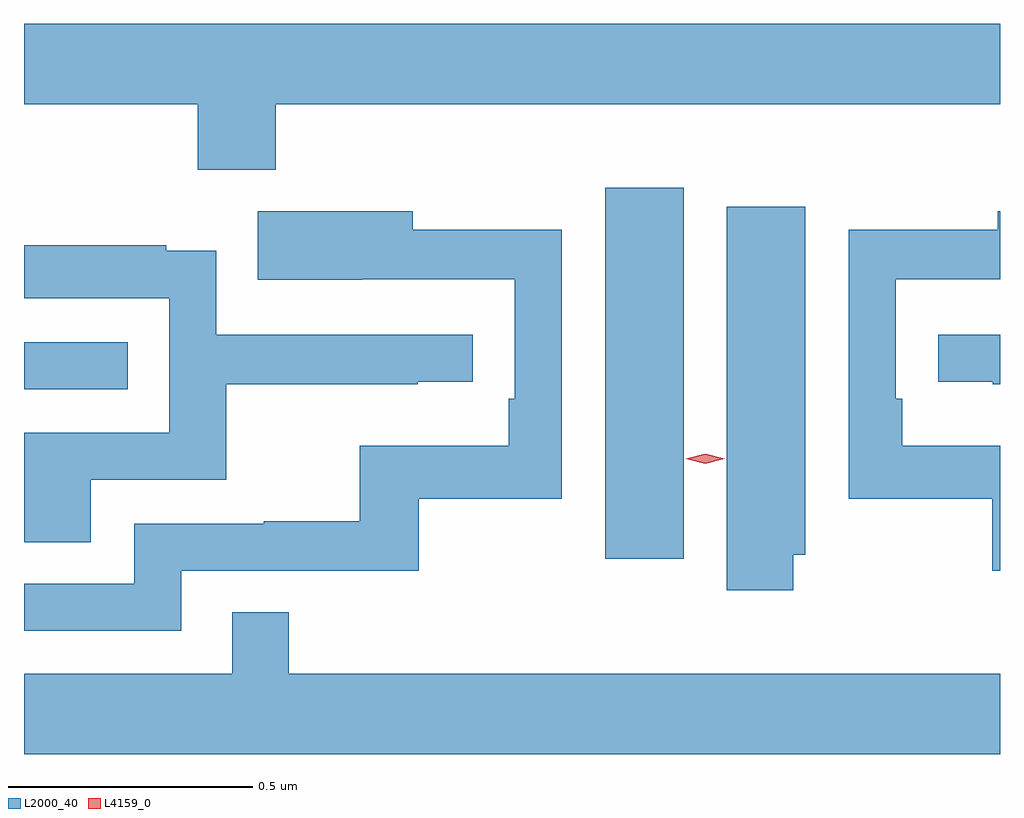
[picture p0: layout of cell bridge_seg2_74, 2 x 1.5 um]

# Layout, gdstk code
import gdstk
lib = gdstk.Library(unit=1e-6, precision=1e-09)
def R(c, l, rs):  # rectangles x0, y0, x1, y1
    for r in rs: c.add(gdstk.rectangle(r[:2], r[2:], *l))
def P(c, l, *ps):  # polygons
    for p in ps: c.add(gdstk.Polygon(p, *l))
L2000_40 = (2000, 40)
L4159_0 = (4159, 0)

bridge_seg2_74 = lib.new_cell('bridge_seg2_74')
R(bridge_seg2_74, L2000_40, [(1135.025,624.06,1135.186,624.82), (1133.834,624.408,1134.047,624.504)])
P(bridge_seg2_74, L2000_40, [(1134.35,624.992),(1135.834,624.992),(1135.834,625.156),(1133.834,625.156),(1133.834,624.992),(1134.19,624.992),(1134.19,624.857),(1134.35,624.857)],
  [(1135.41,624.068),(1135.435,624.068),(1135.435,624.781),(1135.274,624.781),(1135.274,623.996),(1135.41,623.996)],
  [(1134.156,624.036),(1134.643,624.036),(1134.643,624.183),(1134.936,624.183),(1134.936,624.734),(1134.631,624.734),(1134.631,624.772),(1134.313,624.772),(1134.313,624.632),(1134.527,624.632),(1134.527,624.633),(1134.84,624.633),(1134.84,624.388),(1134.827,624.388),(1134.827,624.292),(1134.522,624.292),(1134.522,624.137),(1134.325,624.137),(1134.325,624.132),(1134.06,624.132),(1134.06,624.009),(1133.834,624.009),(1133.834,623.913),(1134.156,623.913)],
  [(1135.834,624.292),(1135.634,624.292),(1135.634,624.388),(1135.62,624.388),(1135.62,624.633),(1135.834,624.633),(1135.834,624.772),(1135.829,624.772),(1135.829,624.734),(1135.524,624.734),(1135.524,624.183),(1135.818,624.183),(1135.818,624.036),(1135.834,624.036)],
  [(1133.971,624.222),(1134.248,624.222),(1134.248,624.418),(1134.641,624.418),(1134.641,624.423),(1134.754,624.423),(1134.754,624.519),(1134.228,624.519),(1134.228,624.691),(1134.125,624.691),(1134.125,624.703),(1133.834,624.703),(1133.834,624.594),(1134.132,624.594),(1134.132,624.318),(1133.834,624.318),(1133.834,624.094),(1133.971,624.094)],
  [(1135.834,624.519),(1135.707,624.519),(1135.707,624.423),(1135.819,624.423),(1135.819,624.418),(1135.834,624.418)],
  [(1135.834,623.824),(1134.377,623.824),(1134.377,623.951),(1134.261,623.951),(1134.261,623.824),(1133.834,623.824),(1133.834,623.66),(1135.834,623.66)])
P(bridge_seg2_74, L4159_0, [(1135.23,624.255),(1135.19,624.265),(1135.19,624.265),(1135.19,624.265),(1135.23,624.275),(1135.27,624.265),(1135.27,624.265),(1135.27,624.265)])

lib.write_gds('bridge_seg2_74.gds')
